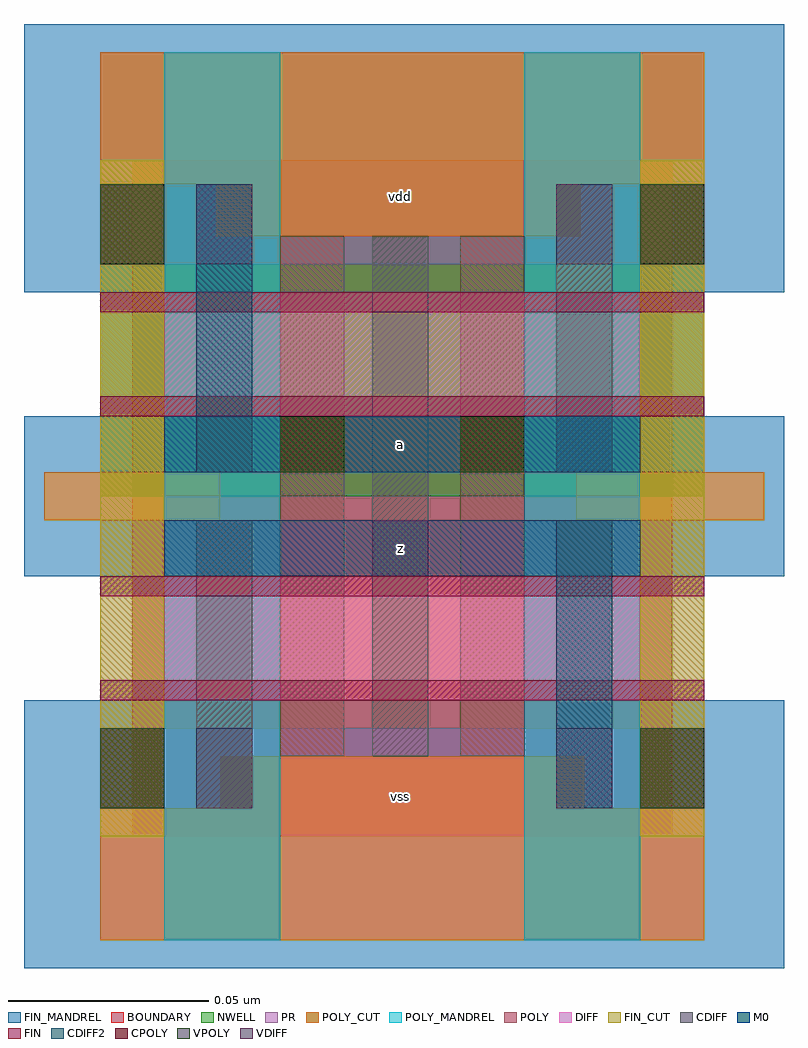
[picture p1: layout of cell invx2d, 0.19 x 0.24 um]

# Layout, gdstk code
import gdstk
lib = gdstk.Library(unit=1e-6, precision=1e-09)
def R(c, l, rs):  # rectangles x0, y0, x1, y1
    for r in rs: c.add(gdstk.rectangle(r[:2], r[2:], *l))
BOUNDARY = (1, 0)
NWELL = (5, 1)
DIFF = (7, 7)
FIN = (7, 8)
FIN_MANDREL = (7, 10)
FIN_CUT = (7, 50)
POLY = (9, 7)
POLY_MANDREL = (9, 10)
POLY_CUT = (9, 50)
CPOLY = (9, 100)
VPOLY = (9, 135)
VDIFF = (10, 0)
CDIFF = (10, 1)
CDIFF2 = (10, 2)
M0 = (30, 0)
PR = (30, 1)

invx2d = lib.new_cell('invx2d')
R(invx2d, BOUNDARY, [(-0.008,0,0.127,0.169)])
R(invx2d, NWELL, [(-0.016,0.085,0.135,0.196)])
R(invx2d, DIFF, [(0,0.034,0.119,0.065), (0,0.105,0.119,0.136)])
R(invx2d, FIN, [(-0.016,0.034,0.135,0.039), (-0.016,0.06,0.135,0.065), (-0.016,0.105,0.135,0.11), (-0.016,0.131,0.135,0.136)])
R(invx2d, FIN_MANDREL, [(-0.035,-0.033,0.155,0.034), (-0.035,0.065,0.155,0.105), (-0.035,0.136,0.155,0.203)])
R(invx2d, FIN_CUT, [(-0.016,0,0,0.169), (0.119,0,0.135,0.169)])
R(invx2d, POLY, [(-0.016,0.007,0,0.079), (0.119,0.007,0.135,0.079), (0.029,0.02,0.045,0.15), (0.074,0.02,0.09,0.15), (-0.016,0.091,0,0.163), (0.119,0.091,0.135,0.163)])
R(invx2d, POLY_MANDREL, [(0,-0.026,0.029,0.196), (0.09,-0.026,0.119,0.196)])
R(invx2d, POLY_CUT, [(-0.016,-0.026,0.135,0.007), (0.014,0.007,0.105,0.02), (-0.03,0.079,0.014,0.091), (0.103,0.079,0.15,0.091), (0.013,0.15,0.104,0.163), (-0.016,0.163,0.135,0.196)])
R(invx2d, CPOLY, [(-0.016,0.007,0,0.027), (0.119,0.007,0.135,0.027), (0.029,0.091,0.045,0.105), (0.074,0.091,0.09,0.105), (-0.016,0.143,0,0.163), (0.119,0.143,0.135,0.163)])
R(invx2d, VPOLY, [(-0.016,0.007,0,0.027), (0.119,0.007,0.135,0.027), (0.029,0.091,0.045,0.105), (0.074,0.091,0.09,0.105), (-0.016,0.143,0,0.163), (0.119,0.143,0.135,0.163)])
R(invx2d, VDIFF, [(0.008,0.007,0.022,0.027), (0.098,0.007,0.112,0.027), (0.052,0.065,0.066,0.079), (0.008,0.143,0.022,0.163), (0.098,0.143,0.112,0.163)])
R(invx2d, CDIFF, [(0.008,0.007,0.022,0.079), (0.052,0.02,0.066,0.15), (0.098,0.091,0.112,0.163)])
R(invx2d, CDIFF2, [(0.098,0.007,0.112,0.079), (0.008,0.091,0.022,0.163)])
R(invx2d, M0, [(0,0.065,0.119,0.079), (0,0.091,0.119,0.105)])
R(invx2d, PR, [(-0.016,-0.026,0.135,0.027), (-0.016,0.143,0.135,0.196)])
invx2d.add(gdstk.Label('vdd', (0.059,0.16), layer=30, texttype=2))
invx2d.add(gdstk.Label('vss', (0.059,0.01), layer=30, texttype=2))
invx2d.add(gdstk.Label('vss', (0.059,0.01), layer=30, texttype=12))
invx2d.add(gdstk.Label('vdd', (0.059,0.16), layer=30, texttype=12))
invx2d.add(gdstk.Label('z', (0.059,0.072), layer=30, texttype=12))
invx2d.add(gdstk.Label('a', (0.059,0.098), layer=30, texttype=12))

lib.write_gds('invx2d.gds')
